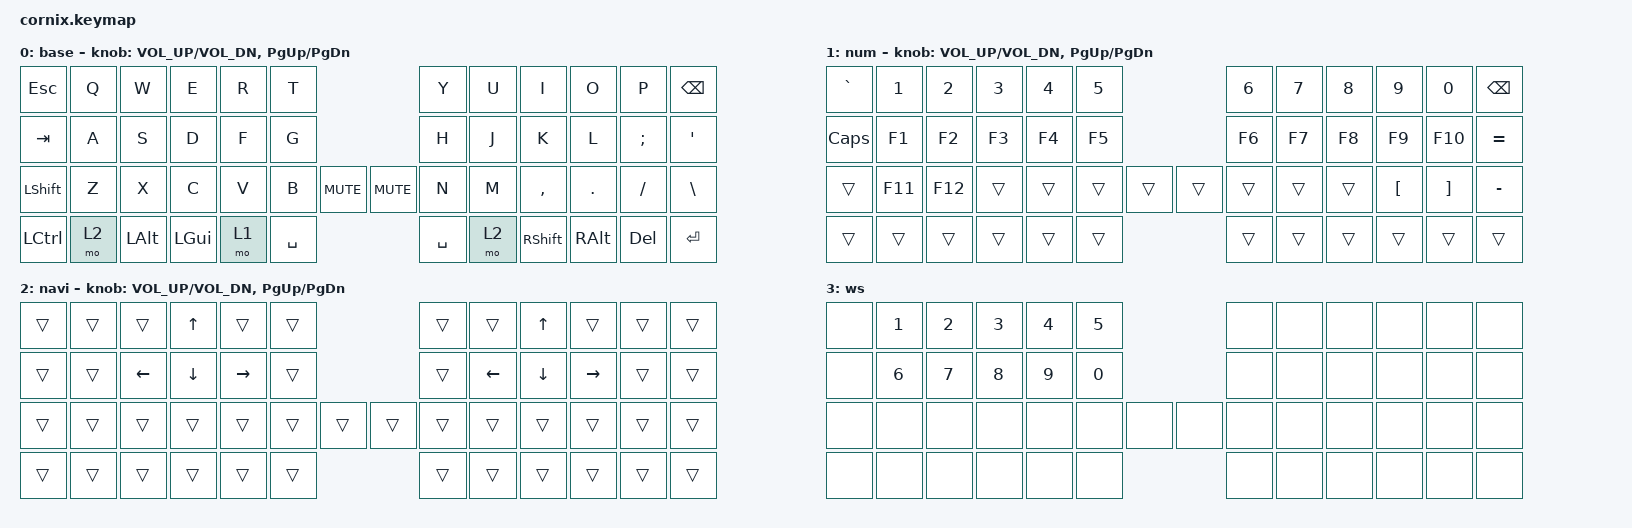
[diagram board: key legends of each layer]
/*
 * Copyright (c) 2020 The ZMK Contributors
 *
 * SPDX-License-Identifier: MIT
 */

#include "includes/cornix54.h"
#include <behaviors.dtsi>
#include <dt-bindings/zmk/keys.h>

#define BASE  0
#define NUM   1
#define SYS   2
#define NAVI  3
#define WS    4

/ {
    macros {
        super_ws: super_ws {
            compatible = "zmk,behavior-macro";
            #binding-cells = <0>;
            bindings
                = <&macro_press &kp LGUI &mo 3>
                , <&macro_pause_for_release>
                , <&macro_release &kp LGUI &mo 3>
                ;
        };

        alt_ws: alt_ws {
            compatible = "zmk,behavior-macro";
            #binding-cells = <0>;
            bindings
                = <&macro_press &kp LALT &mo 3>
                , <&macro_pause_for_release>
                , <&macro_release &kp LALT &mo 3>
                ;
        };
    };

    combos {
        compatible = "zmk,combos";

        // Hold Left-Shift (pos 24) + Super thumb (pos 41) -> ws layer with Super held,
        // active only while both keys are held. Shift is the trigger only (not sent).
        combo_super_ws {
            timeout-ms = <50>;
            key-positions = <24 41>;
            bindings = <&super_ws>;
            layers = <0>;
        };

        // Hold Left-Shift (pos 24) + Num thumb (pos 42) -> ws layer with Alt held.
        combo_alt_ws {
            timeout-ms = <50>;
            key-positions = <24 42>;
            bindings = <&alt_ws>;
            layers = <0>;
        };
    };

    keymap {
        compatible = "zmk,keymap";

        default_layer {
            display-name = "base";
            bindings = <
&kp ESC    &kp Q  &kp W    &kp E    &kp R  &kp T                              &kp Y      &kp U  &kp I            &kp O          &kp P     &kp BSPC
&kp TAB    &kp A  &kp S    &kp D    &kp F  &kp G                              &kp H      &kp J  &kp K            &kp L          &kp SEMI  &kp APOS
&kp LSHFT  &kp Z  &kp X    &kp C    &kp V  &kp B      &kp C_MUTE  &kp C_MUTE  &kp N      &kp M  &kp COMMA        &kp DOT        &kp FSLH  &kp BSLH
&kp LCTRL  &mo 2  &kp LALT  &kp LGUI  &mo 1  &kp SPACE                          &kp SPACE  &mo 2  &kp RIGHT_SHIFT  &kp RIGHT_ALT  &kp DEL   &kp ENTER
            >;

            sensor-bindings = <&inc_dec_kp C_VOL_UP C_VOL_DN &inc_dec_kp PG_UP PG_DN>;
        };

        num_layer {
            display-name = "num";
            bindings = <
&kp GRAVE  &kp N1   &kp N2   &kp N3  &kp N4  &kp N5                  &kp N6  &kp N7  &kp N8  &kp N9            &kp N0             &kp BSPC
&kp CAPS   &kp F1   &kp F2   &kp F3  &kp F4  &kp F5                  &kp F6  &kp F7  &kp F8  &kp F9            &kp F10            &kp EQUAL
&trans     &kp F11  &kp F12  &trans  &trans  &trans  &trans  &trans  &trans  &trans  &trans  &kp LEFT_BRACKET  &kp RIGHT_BRACKET  &kp MINUS
&trans     &trans   &trans   &trans  &trans  &trans                  &trans  &trans  &trans  &trans            &trans             &trans
            >;

            sensor-bindings = <&inc_dec_kp C_VOL_UP C_VOL_DN &inc_dec_kp PG_UP PG_DN>;
        };

        navi_layer {
            bindings = <
&trans  &trans  &trans          &kp UP_ARROW    &trans           &trans                  &trans  &trans          &kp UP_ARROW    &trans           &trans  &trans
&trans  &trans  &kp LEFT_ARROW  &kp DOWN_ARROW  &kp RIGHT_ARROW  &trans                  &trans  &kp LEFT_ARROW  &kp DOWN_ARROW  &kp RIGHT_ARROW  &trans  &trans
&trans  &trans  &trans          &trans          &trans           &trans  &trans  &trans  &trans  &trans          &trans          &trans           &trans  &trans
&trans  &trans  &trans          &trans          &trans           &trans                  &trans  &trans          &trans          &trans           &trans  &trans
            >;

            label = "navi";
            sensor-bindings =
                <&inc_dec_kp C_VOL_UP C_VOL_DN>,
                <&inc_dec_kp PAGE_UP PAGE_DOWN>;
        };

        ws_layer {
            display-name = "ws";
            bindings = <
&none  &kp N1  &kp N2  &kp N3  &kp N4  &kp N5                &none  &none  &none  &none  &none  &none
&none  &kp N6  &kp N7  &kp N8  &kp N9  &kp N0                &none  &none  &none  &none  &none  &none
&none  &none   &none   &none   &none   &none   &none  &none  &none  &none  &none  &none  &none  &none
&none  &none   &none   &none   &none   &none                 &none  &none  &none  &none  &none  &none
            >;
        };
    };
};
